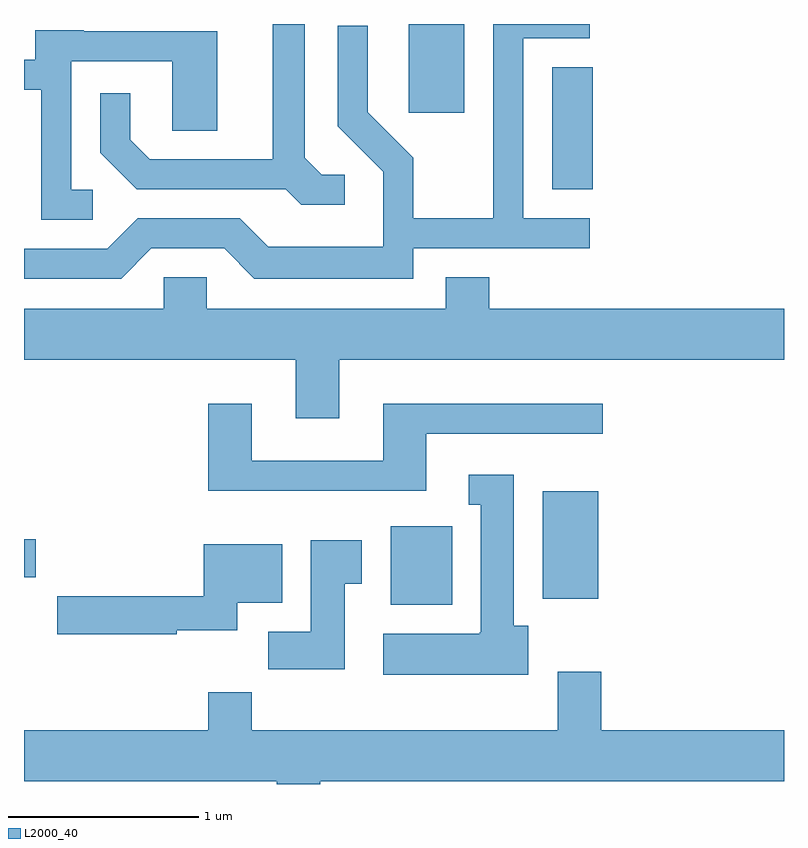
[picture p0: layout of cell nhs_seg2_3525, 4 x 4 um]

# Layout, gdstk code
import gdstk
lib = gdstk.Library(unit=1e-6, precision=1e-09)
def R(c, l, rs):  # rectangles x0, y0, x1, y1
    for r in rs: c.add(gdstk.rectangle(r[:2], r[2:], *l))
def P(c, l, *ps):  # polygons
    for p in ps: c.add(gdstk.Polygon(p, *l))
L2000_40 = (2000, 40)

nhs_seg2_3525 = lib.new_cell('nhs_seg2_3525')
R(nhs_seg2_3525, L2000_40, [(289.541,1104.746,289.864,1105.159), (290.341,1104.776,290.634,1105.344), (287.611,1104.891,287.674,1105.089), (290.391,1106.931,290.604,1107.574), (289.636,1107.336,289.929,1107.802)])
P(nhs_seg2_3525, L2000_40, [(289.298,1107.009),(289.177,1107.009),(289.089,1107.097),(289.089,1107.802),(288.921,1107.802),(288.921,1107.089),(288.272,1107.089),(288.169,1107.192),(288.169,1107.438),(288.011,1107.438),(288.011,1107.124),(288.204,1106.931),(288.989,1106.931),(289.069,1106.851),(289.298,1106.851)],
  [(288.282,1106.621),(288.664,1106.621),(288.824,1106.461),(289.659,1106.461),(289.659,1106.621),(290.588,1106.621),(290.588,1106.779),(290.239,1106.779),(290.239,1107.726),(290.588,1107.726),(290.588,1107.802),(290.081,1107.802),(290.081,1106.779),(289.659,1106.779),(289.659,1107.097),(289.419,1107.337),(289.419,1107.793),(289.261,1107.793),(289.261,1107.264),(289.501,1107.024),(289.501,1106.629),(288.897,1106.629),(288.747,1106.779),(288.209,1106.779),(288.049,1106.619),(287.611,1106.619),(287.611,1106.461),(288.122,1106.461)],
  [(287.973,1106.929),(287.859,1106.929),(287.859,1107.606),(288.391,1107.606),(288.391,1107.241),(288.629,1107.241),(288.629,1107.764),(287.925,1107.764),(287.925,1107.769),(287.671,1107.769),(287.671,1107.614),(287.611,1107.614),(287.611,1107.456),(287.701,1107.456),(287.701,1106.771),(287.973,1106.771)],
  [(289.269,1106.036),(291.611,1106.036),(291.611,1106.304),(290.059,1106.304),(290.059,1106.469),(289.831,1106.469),(289.831,1106.304),(288.574,1106.304),(288.574,1106.469),(288.346,1106.469),(288.346,1106.304),(287.611,1106.304),(287.611,1106.036),(289.041,1106.036),(289.041,1105.726),(289.269,1105.726)],
  [(289.729,1105.646),(290.658,1105.646),(290.658,1105.804),(289.501,1105.804),(289.501,1105.504),(288.809,1105.504),(288.809,1105.804),(288.581,1105.804),(288.581,1105.346),(289.729,1105.346)],
  [(290.264,1104.634),(290.189,1104.634),(290.189,1105.429),(289.953,1105.429),(289.953,1105.271),(290.016,1105.271),(290.016,1104.6),(290.01,1104.6),(290.01,1104.594),(289.501,1104.594),(289.501,1104.376),(290.264,1104.376)],
  [(289.299,1104.856),(289.389,1104.856),(289.389,1105.084),(289.121,1105.084),(289.121,1104.604),(288.896,1104.604),(288.896,1104.406),(289.299,1104.406)],
  [(288.414,1104.611),(288.734,1104.611),(288.734,1104.756),(288.969,1104.756),(288.969,1105.064),(288.556,1105.064),(288.556,1104.789),(287.786,1104.789),(287.786,1104.591),(288.414,1104.591)],
  [(289.169,1103.816),(291.611,1103.816),(291.611,1104.084),(290.649,1104.084),(290.649,1104.394),(290.421,1104.394),(290.421,1104.084),(288.809,1104.084),(288.809,1104.284),(288.581,1104.284),(288.581,1104.084),(287.611,1104.084),(287.611,1103.816),(288.941,1103.816),(288.941,1103.802),(289.169,1103.802)])

lib.write_gds('nhs_seg2_3525.gds')
